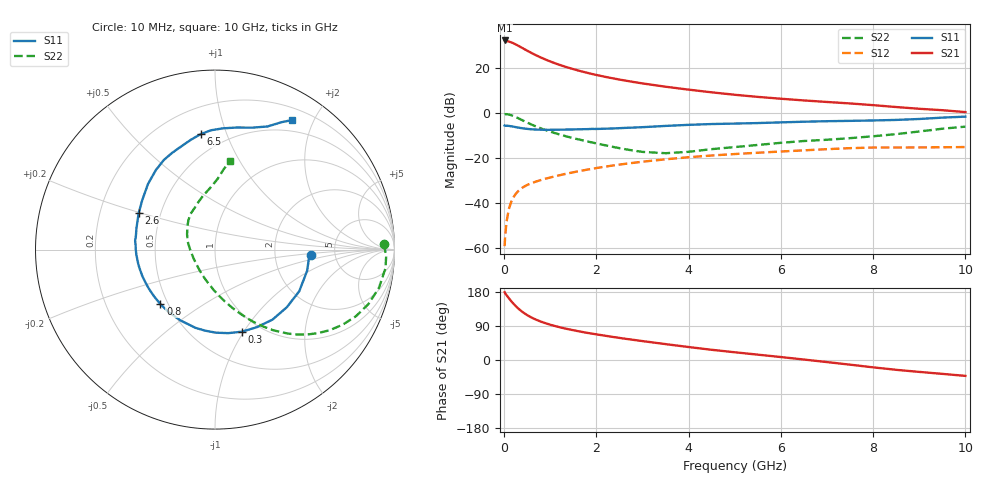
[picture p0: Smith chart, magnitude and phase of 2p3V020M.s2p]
! (c) 2009  Infineon Technologies AG, Munich
! Infineon Technologies  Discrete & RF Semiconductors
! BFP420
! VCE =  3.0 V,  IC =  20 mA
! Common Emitter S-Parameters:  Nov 2009
# GHz  S  MA  R  50
!  f  S11  S21  S12  S22
! GHz  MAG  ANG  MAG  ANG  MAG  ANG  MAG  ANG
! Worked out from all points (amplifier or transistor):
!   46 points, 10 MHz to 10 GHz, reference 50 ohm
!   highest |S21| = 32.4 dB at 10 MHz (marker M1)
!   |S21| within 3 dB of that: start of sweep to 363.4 MHz
!   unconditionally stable (mu >= 1): 1.836 GHz to end of sweep
!   at 300 MHz: K = 0.32, MSG = 32.4 dB, |S12| = -34.8 dB
!   at 1.7 GHz: K = 0.97, MSG = 22.0 dB, |S12| = -25.5 dB
!   at 10 GHz: K = 1.07, MAG = 6.2 dB, |S12| = -15.0 dB
!   lowest NFmin = 1.23 dB at 900 MHz
!   S11 on the Smith chart (normalised r, x): 10 MHz: 3.26, -0.26; 300 MHz: 0.83, -0.98; 800 MHz: 0.45, -0.34; 2.6 GHz: 0.38, +0.19; 6.5 GHz: 0.37, +0.81; 10 GHz: 0.35, +1.71
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0.01  0.5332 -3.1  41.73 178.8  0.0011 84.1  0.9416 1.8
0.02  0.5259 -4.7  40.74 176.3  0.0017 87.8  0.9546 -2.1
0.1  0.5236 -26.3  39.51 163.4  0.0073 78.7  0.938 -13.1
0.15  0.5131 -38.7  37.97 155.8  0.0105 74.9  0.9074 -19.5
0.2  0.5048 -50.6  36.15 148.9  0.0134 71.1  0.8685 -25.3
0.25  0.4911 -61.7  34.04 142.3  0.016 67.6  0.8259 -30.4
0.3  0.4813 -71.8  32.07 136.5  0.0183 64.7  0.781 -35.1
0.4  0.463 -89.3  28.16 126.5  0.0222 60.4  0.6956 -42.9
0.5  0.4492 -104.0  24.7 118.4  0.0253 57.6  0.6201 -49.0
0.6  0.4391 -116.1  21.79 111.6  0.028 55.7  0.5566 -54.0
0.7  0.4333 -126.3  19.36 106.0  0.0304 54.6  0.5036 -58.1
0.8  0.4301 -135.0  17.33 101.1  0.0327 53.9  0.4593 -61.7
1  0.428 -149.1  14.23 93.1  0.0372 53.2  0.3895 -67.9
1.2  0.431 -160.1  11.96 86.6  0.0417 52.7  0.3371 -73.6
1.7  0.4416 179.8  8.442 73.9  0.0532 51.3  0.2496 -86.6
2.6  0.4712 154.6  5.389 56.5  0.0743 46.0  0.1599 -115.2
3.5  0.5225 135.6  3.896 41.9  0.0944 38.8  0.1291 -157.5
5.5  0.605 108.1  2.314 14.1  0.1322 21.2  0.1971 141.6
6.5  0.6482 97.1  1.929 1.2  0.1495 12.3  0.2411 124.5
7  0.6653 91.9  1.783 -5.5  0.1586 7.5  0.2573 116.5
8.5  0.7104 73.0  1.375 -25.9  0.1731 -9.3  0.3433 94.7
10  0.8408 59.2  1.061 -41.9  0.1769 -20.4  0.5035 80.2
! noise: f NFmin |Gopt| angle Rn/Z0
0.9  1.23  0.16  -154  0.13
1.8  1.51  0.24  -144  0.13
2.4  1.66  0.22  -141  0.15
3  1.69  0.3  -132  0.16
4  1.82  0.42  -115  0.23
5  2.28  0.48  -96  0.37
6  2.65  0.52  -86  0.56
